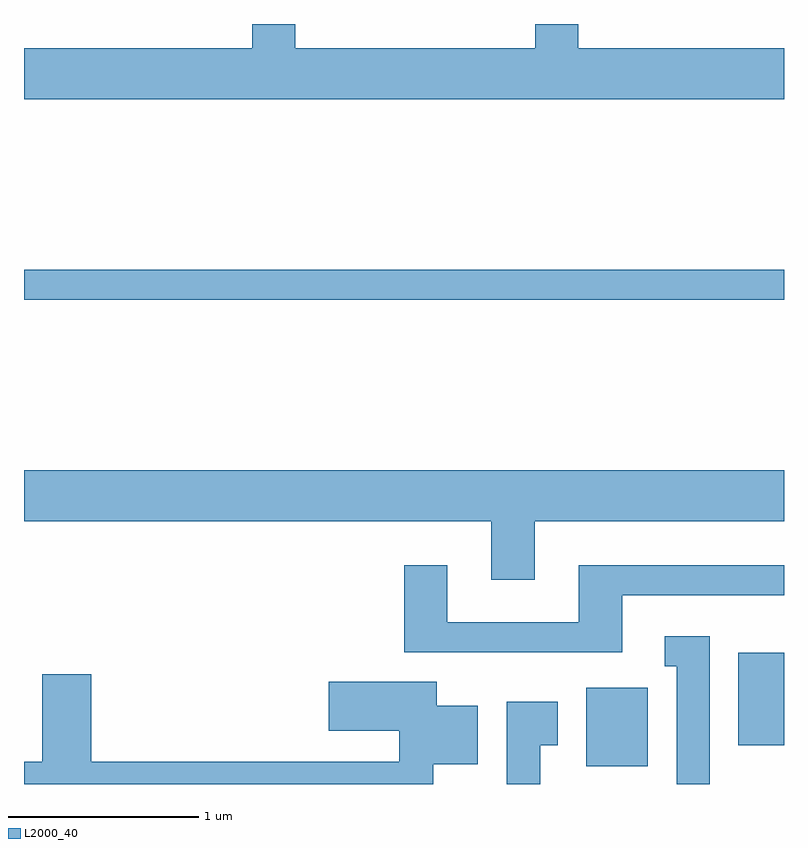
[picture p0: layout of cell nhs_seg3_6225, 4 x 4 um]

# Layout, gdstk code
import gdstk
lib = gdstk.Library(unit=1e-6, precision=1e-09)
def R(c, l, rs):  # rectangles x0, y0, x1, y1
    for r in rs: c.add(gdstk.rectangle(r[:2], r[2:], *l))
def P(c, l, *ps):  # polygons
    for p in ps: c.add(gdstk.Polygon(p, *l))
L2000_40 = (2000, 40)

nhs_seg3_6225 = lib.new_cell('nhs_seg3_6225')
R(nhs_seg3_6225, L2000_40, [(370.571,1197.986,370.894,1198.399), (371.371,1198.096,371.611,1198.584), (367.611,1200.441,371.611,1200.599)])
P(nhs_seg3_6225, L2000_40, [(371.611,1201.764),(370.529,1201.764),(370.529,1201.892),(370.301,1201.892),(370.301,1201.764),(369.039,1201.764),(369.039,1201.892),(368.811,1201.892),(368.811,1201.764),(367.611,1201.764),(367.611,1201.496),(371.611,1201.496)],
  [(370.299,1199.276),(371.611,1199.276),(371.611,1199.544),(367.611,1199.544),(367.611,1199.276),(370.071,1199.276),(370.071,1198.966),(370.299,1198.966)],
  [(370.759,1198.886),(371.611,1198.886),(371.611,1199.044),(370.531,1199.044),(370.531,1198.744),(369.839,1198.744),(369.839,1199.044),(369.611,1199.044),(369.611,1198.586),(370.759,1198.586)],
  [(371.219,1198.669),(370.983,1198.669),(370.983,1198.511),(371.046,1198.511),(371.046,1197.892),(371.219,1197.892)],
  [(369.764,1197.996),(369.999,1197.996),(369.999,1198.304),(369.784,1198.304),(369.784,1198.429),(369.216,1198.429),(369.216,1198.171),(369.586,1198.171),(369.586,1198.009),(367.964,1198.009),(367.964,1198.469),(367.706,1198.469),(367.706,1198.009),(367.611,1198.009),(367.611,1197.892),(369.764,1197.892)],
  [(370.329,1198.096),(370.419,1198.096),(370.419,1198.324),(370.151,1198.324),(370.151,1197.892),(370.329,1197.892)])

lib.write_gds('nhs_seg3_6225.gds')
